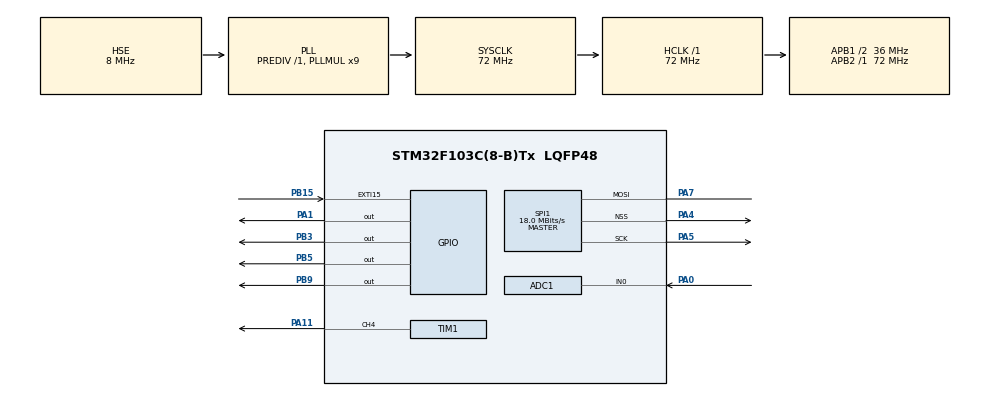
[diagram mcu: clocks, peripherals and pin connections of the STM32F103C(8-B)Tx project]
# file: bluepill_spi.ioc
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ADC1.Channel-5\#ChannelRegularConversion=ADC_CHANNEL_0
ADC1.ContinuousConvMode=ENABLE
ADC1.NbrOfConversionFlag=1
ADC1.Rank-5\#ChannelRegularConversion=1
ADC1.SamplingTime-5\#ChannelRegularConversion=ADC_SAMPLETIME_1CYCLE_5
ADC1.master=1
Mcu.Family=STM32F1
Mcu.Name=STM32F103C(8-B)Tx
Mcu.Package=LQFP48
NVIC.EXTI15_10_IRQn=true\:0\:0\:false\:false\:true\:true\:true\:true
NVIC.PriorityGroup=NVIC_PRIORITYGROUP_4
PA0-WKUP.Signal=ADCx_IN0
PA1.Signal=GPIO_Output
PA11.Signal=S_TIM1_CH4
PA13.Mode=Serial_Wire
PA13.Signal=SYS_JTMS-SWDIO
PA14.Mode=Serial_Wire
PA14.Signal=SYS_JTCK-SWCLK
PA4.Mode=NSS_Signal_Hard_Output
PA4.Signal=SPI1_NSS
PA5.Mode=Simplex_Bidirectional_Master
PA5.Signal=SPI1_SCK
PA7.Mode=Simplex_Bidirectional_Master
PA7.Signal=SPI1_MOSI
PB15.GPIO_ModeDefaultEXTI=GPIO_MODE_IT_FALLING
PB15.GPIO_PuPd=GPIO_NOPULL
PB15.Signal=GPXTI15
PB3.Signal=GPIO_Output
PB5.Signal=GPIO_Output
PB9.GPIO_ModeDefaultOutputPP=GPIO_MODE_OUTPUT_PP
PB9.GPIO_PuPd=GPIO_NOPULL
PB9.GPIO_Speed=GPIO_SPEED_FREQ_LOW
PB9.PinState=GPIO_PIN_RESET
PB9.Signal=GPIO_Output
PC14-OSC32_IN.Mode=LSE-External-Oscillator
PC14-OSC32_IN.Signal=RCC_OSC32_IN
PC15-OSC32_OUT.Mode=LSE-External-Oscillator
PC15-OSC32_OUT.Signal=RCC_OSC32_OUT
PD0-OSC_IN.Mode=HSE-External-Oscillator
PD0-OSC_IN.Signal=RCC_OSC_IN
PD1-OSC_OUT.Mode=HSE-External-Oscillator
PD1-OSC_OUT.Signal=RCC_OSC_OUT
ProjectManager.HeapSize=0x200
ProjectManager.StackSize=0x400
ProjectManager.TargetToolchain=STM32CubeIDE
RCC.ADCPresc=RCC_ADCPCLK2_DIV6
RCC.AHBFreq_Value=72000000
RCC.APB1CLKDivider=RCC_HCLK_DIV2
RCC.APB1Freq_Value=36000000
RCC.APB1TimFreq_Value=72000000
RCC.APB2Freq_Value=72000000
RCC.APB2TimFreq_Value=72000000
RCC.HCLKFreq_Value=72000000
RCC.PLLMUL=RCC_PLL_MUL9
RCC.PLLSourceVirtual=RCC_PLLSOURCE_HSE
RCC.RTCClockSelection=RCC_RTCCLKSOURCE_LSE
RCC.SYSCLKFreq_VALUE=72000000
RCC.SYSCLKSource=RCC_SYSCLKSOURCE_PLLCLK
RCC.USBFreq_Value=48000000
RCC.USBPrescaler=RCC_USBCLKSOURCE_PLL_DIV1_5
SH.ADCx_IN0.0=ADC1_IN0,IN0
SH.S_TIM1_CH4.0=TIM1_CH4,PWM Generation4 CH4
SPI1.BaudRatePrescaler=SPI_BAUDRATEPRESCALER_4
SPI1.CalculateBaudRate=18.0 MBits/s
SPI1.Direction=SPI_DIRECTION_1LINE
SPI1.Mode=SPI_MODE_MASTER
SPI1.VirtualNSS=VM_NSSHARD
SPI1.VirtualType=VM_MASTER
TIM1.Channel-PWM\ Generation4\ CH4=TIM_CHANNEL_4
TIM1.Period=20000 - 1
TIM1.Prescaler=72 - 1
VP_RTC_VS_RTC_Activate.Mode=RTC_Enabled
VP_TIM1_VS_ClockSourceINT.Mode=Internal
board=custom

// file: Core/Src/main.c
/* USER CODE BEGIN Header */
/**
  ******************************************************************************
  * @file           : main.c
  * @brief          : Main program body
  ******************************************************************************
  * @attention
  *
  * Copyright (c) 2024 STMicroelectronics.
  * All rights reserved.
  *
  * This software is licensed under terms that can be found in the LICENSE file
  * in the root directory of this software component.
  * If no LICENSE file comes with this software, it is provided AS-IS.
  *
  ******************************************************************************
  */
/* USER CODE END Header */
#include "main.h"

/* USER CODE BEGIN Includes */
#include "st7735.h"
#include <stdio.h>
/* USER CODE END Includes */

ADC_HandleTypeDef hadc1;

RTC_HandleTypeDef hrtc;

SPI_HandleTypeDef hspi1;

TIM_HandleTypeDef htim1;

void SystemClock_Config(void);
static void MX_GPIO_Init(void);
static void MX_RTC_Init(void);
static void MX_SPI1_Init(void);
static void MX_ADC1_Init(void);
static void MX_TIM1_Init(void);

/* USER CODE BEGIN 0 */
volatile uint8_t buttonPressed = 0;
int count = 0;
int readValue;
uint16_t x, y, h, w, w2, w3;
uint16_t PWM;
/* USER CODE END 0 */

int main(void)
{

  /* MCU Configuration--------------------------------------------------------*/

  /* Reset of all peripherals, Initializes the Flash interface and the Systick. */
  HAL_Init();

  /* Configure the system clock */
  SystemClock_Config();

  /* Initialize all configured peripherals */
  MX_GPIO_Init();
  MX_RTC_Init();
  MX_SPI1_Init();
  MX_ADC1_Init();
  MX_TIM1_Init();
  /* USER CODE BEGIN 2 */
  ST7735_Init();
  ST7735_FillScreenFast(ST7735_BLACK);

  HAL_ADC_Start(&hadc1);
  HAL_TIM_PWM_Start(&htim1, TIM_CHANNEL_4);
  /* USER CODE END 2 */

  /* Infinite loop */
  /* USER CODE BEGIN WHILE */
  while (1)
  {
	  HAL_ADC_PollForConversion(&hadc1,1000);
	  readValue = HAL_ADC_GetValue(&hadc1);

	  // Map ADC value (0-4095) to PWM duty cycle (0-180 degrees)
	  uint32_t pulse_width = (readValue * (2000 - 500) / 4095) + 500;
	  __HAL_TIM_SET_COMPARE(&htim1, TIM_CHANNEL_4, pulse_width);

	  //write value to screen
	  char buffer[10];
	  snprintf(buffer, sizeof(buffer), "%05d", readValue);
	  ST7735_WriteString(32, 32, buffer, Font_7x10, ST7735_CYAN, ST7735_BLACK);

	  //draw bar to screen
	  x = 10;
	  y = 64;
	  h = 10;
	  w = (readValue * 108) / 4095;
	  w2 = 15;
	  w3 = 80;
	  ST7735_DrawRectangle(x - 1, y - 1, 109, h + 2, ST7735_WHITE);
	  ST7735_FillRectangleFast(x, y, w, h, ST7735_CYAN);
	  ST7735_FillRectangleFast(w + w2, y, w3, h, ST7735_BLACK);

	  HAL_Delay(50);
    /* USER CODE END WHILE */

  }
}

void SystemClock_Config(void)
{
  RCC_OscInitTypeDef RCC_OscInitStruct = {0};
  RCC_ClkInitTypeDef RCC_ClkInitStruct = {0};
  RCC_PeriphCLKInitTypeDef PeriphClkInit = {0};

  /** Initializes the RCC Oscillators according to the specified parameters
  * in the RCC_OscInitTypeDef structure.
  */
  RCC_OscInitStruct.OscillatorType = RCC_OSCILLATORTYPE_HSE|RCC_OSCILLATORTYPE_LSE;
  RCC_OscInitStruct.HSEState = RCC_HSE_ON;
  RCC_OscInitStruct.HSEPredivValue = RCC_HSE_PREDIV_DIV1;
  RCC_OscInitStruct.LSEState = RCC_LSE_ON;
  RCC_OscInitStruct.HSIState = RCC_HSI_ON;
  RCC_OscInitStruct.PLL.PLLState = RCC_PLL_ON;
  RCC_OscInitStruct.PLL.PLLSource = RCC_PLLSOURCE_HSE;
  RCC_OscInitStruct.PLL.PLLMUL = RCC_PLL_MUL9;
  if (HAL_RCC_OscConfig(&RCC_OscInitStruct) != HAL_OK)
  {
    Error_Handler();
  }

  /** Initializes the CPU, AHB and APB buses clocks
  */
  RCC_ClkInitStruct.ClockType = RCC_CLOCKTYPE_HCLK|RCC_CLOCKTYPE_SYSCLK
                              |RCC_CLOCKTYPE_PCLK1|RCC_CLOCKTYPE_PCLK2;
  RCC_ClkInitStruct.SYSCLKSource = RCC_SYSCLKSOURCE_PLLCLK;
  RCC_ClkInitStruct.AHBCLKDivider = RCC_SYSCLK_DIV1;
  RCC_ClkInitStruct.APB1CLKDivider = RCC_HCLK_DIV2;
  RCC_ClkInitStruct.APB2CLKDivider = RCC_HCLK_DIV1;

  if (HAL_RCC_ClockConfig(&RCC_ClkInitStruct, FLASH_LATENCY_2) != HAL_OK)
  {
    Error_Handler();
  }
  PeriphClkInit.PeriphClockSelection = RCC_PERIPHCLK_RTC|RCC_PERIPHCLK_ADC;
  PeriphClkInit.RTCClockSelection = RCC_RTCCLKSOURCE_LSE;
  PeriphClkInit.AdcClockSelection = RCC_ADCPCLK2_DIV6;
  if (HAL_RCCEx_PeriphCLKConfig(&PeriphClkInit) != HAL_OK)
  {
    Error_Handler();
  }
}

static void MX_ADC1_Init(void)
{

  ADC_ChannelConfTypeDef sConfig = {0};

  /** Common config
  */
  hadc1.Instance = ADC1;
  hadc1.Init.ScanConvMode = ADC_SCAN_DISABLE;
  hadc1.Init.ContinuousConvMode = ENABLE;
  hadc1.Init.DiscontinuousConvMode = DISABLE;
  hadc1.Init.ExternalTrigConv = ADC_SOFTWARE_START;
  hadc1.Init.DataAlign = ADC_DATAALIGN_RIGHT;
  hadc1.Init.NbrOfConversion = 1;
  if (HAL_ADC_Init(&hadc1) != HAL_OK)
  {
    Error_Handler();
  }

  /** Configure Regular Channel
  */
  sConfig.Channel = ADC_CHANNEL_0;
  sConfig.Rank = ADC_REGULAR_RANK_1;
  sConfig.SamplingTime = ADC_SAMPLETIME_1CYCLE_5;
  if (HAL_ADC_ConfigChannel(&hadc1, &sConfig) != HAL_OK)
  {
    Error_Handler();
  }

}

static void MX_RTC_Init(void)
{

  /** Initialize RTC Only
  */
  hrtc.Instance = RTC;
  hrtc.Init.AsynchPrediv = RTC_AUTO_1_SECOND;
  hrtc.Init.OutPut = RTC_OUTPUTSOURCE_ALARM;
  if (HAL_RTC_Init(&hrtc) != HAL_OK)
  {
    Error_Handler();
  }

}

static void MX_SPI1_Init(void)
{

  /* SPI1 parameter configuration*/
  hspi1.Instance = SPI1;
  hspi1.Init.Mode = SPI_MODE_MASTER;
  hspi1.Init.Direction = SPI_DIRECTION_1LINE;
  hspi1.Init.DataSize = SPI_DATASIZE_8BIT;
  hspi1.Init.CLKPolarity = SPI_POLARITY_LOW;
  hspi1.Init.CLKPhase = SPI_PHASE_1EDGE;
  hspi1.Init.NSS = SPI_NSS_HARD_OUTPUT;
  hspi1.Init.BaudRatePrescaler = SPI_BAUDRATEPRESCALER_4;
  hspi1.Init.FirstBit = SPI_FIRSTBIT_MSB;
  hspi1.Init.TIMode = SPI_TIMODE_DISABLE;
  hspi1.Init.CRCCalculation = SPI_CRCCALCULATION_DISABLE;
  hspi1.Init.CRCPolynomial = 10;
  if (HAL_SPI_Init(&hspi1) != HAL_OK)
  {
    Error_Handler();
  }

}

static void MX_TIM1_Init(void)
{

  TIM_ClockConfigTypeDef sClockSourceConfig = {0};
  TIM_MasterConfigTypeDef sMasterConfig = {0};
  TIM_OC_InitTypeDef sConfigOC = {0};
  TIM_BreakDeadTimeConfigTypeDef sBreakDeadTimeConfig = {0};

  htim1.Instance = TIM1;
  htim1.Init.Prescaler = 72 - 1;
  htim1.Init.CounterMode = TIM_COUNTERMODE_UP;
  htim1.Init.Period = 20000 - 1;
  htim1.Init.ClockDivision = TIM_CLOCKDIVISION_DIV1;
  htim1.Init.RepetitionCounter = 0;
  htim1.Init.AutoReloadPreload = TIM_AUTORELOAD_PRELOAD_DISABLE;
  if (HAL_TIM_Base_Init(&htim1) != HAL_OK)
  {
    Error_Handler();
  }
  sClockSourceConfig.ClockSource = TIM_CLOCKSOURCE_INTERNAL;
  if (HAL_TIM_ConfigClockSource(&htim1, &sClockSourceConfig) != HAL_OK)
  {
    Error_Handler();
  }
  if (HAL_TIM_PWM_Init(&htim1) != HAL_OK)
  {
    Error_Handler();
  }
  sMasterConfig.MasterOutputTrigger = TIM_TRGO_RESET;
  sMasterConfig.MasterSlaveMode = TIM_MASTERSLAVEMODE_DISABLE;
  if (HAL_TIMEx_MasterConfigSynchronization(&htim1, &sMasterConfig) != HAL_OK)
  {
    Error_Handler();
  }
  sConfigOC.OCMode = TIM_OCMODE_PWM1;
  sConfigOC.Pulse = 1500;
  sConfigOC.OCPolarity = TIM_OCPOLARITY_HIGH;
  sConfigOC.OCFastMode = TIM_OCFAST_DISABLE;
  sConfigOC.OCIdleState = TIM_OCIDLESTATE_RESET;
  sConfigOC.OCNIdleState = TIM_OCNIDLESTATE_RESET;
  if (HAL_TIM_PWM_ConfigChannel(&htim1, &sConfigOC, TIM_CHANNEL_4) != HAL_OK)
  {
    Error_Handler();
  }
  sBreakDeadTimeConfig.OffStateRunMode = TIM_OSSR_DISABLE;
  sBreakDeadTimeConfig.OffStateIDLEMode = TIM_OSSI_DISABLE;
  sBreakDeadTimeConfig.LockLevel = TIM_LOCKLEVEL_OFF;
  sBreakDeadTimeConfig.DeadTime = 0;
  sBreakDeadTimeConfig.BreakState = TIM_BREAK_DISABLE;
  sBreakDeadTimeConfig.BreakPolarity = TIM_BREAKPOLARITY_HIGH;
  sBreakDeadTimeConfig.AutomaticOutput = TIM_AUTOMATICOUTPUT_DISABLE;
  if (HAL_TIMEx_ConfigBreakDeadTime(&htim1, &sBreakDeadTimeConfig) != HAL_OK)
  {
    Error_Handler();
  }
  HAL_TIM_MspPostInit(&htim1);

}

static void MX_GPIO_Init(void)
{
  GPIO_InitTypeDef GPIO_InitStruct = {0};

  /* GPIO Ports Clock Enable */
  __HAL_RCC_GPIOC_CLK_ENABLE();
  __HAL_RCC_GPIOD_CLK_ENABLE();
  __HAL_RCC_GPIOA_CLK_ENABLE();
  __HAL_RCC_GPIOB_CLK_ENABLE();

  /*Configure GPIO pin Output Level */
  HAL_GPIO_WritePin(GPIOA, GPIO_PIN_1, GPIO_PIN_RESET);

  /*Configure GPIO pin Output Level */
  HAL_GPIO_WritePin(GPIOB, GPIO_PIN_3|GPIO_PIN_5|GPIO_PIN_9, GPIO_PIN_RESET);

  /*Configure GPIO pin : PA1 */
  GPIO_InitStruct.Pin = GPIO_PIN_1;
  GPIO_InitStruct.Mode = GPIO_MODE_OUTPUT_PP;
  GPIO_InitStruct.Pull = GPIO_NOPULL;
  GPIO_InitStruct.Speed = GPIO_SPEED_FREQ_LOW;
  HAL_GPIO_Init(GPIOA, &GPIO_InitStruct);

  /*Configure GPIO pin : PB15 */
  GPIO_InitStruct.Pin = GPIO_PIN_15;
  GPIO_InitStruct.Mode = GPIO_MODE_IT_FALLING;
  GPIO_InitStruct.Pull = GPIO_NOPULL;
  HAL_GPIO_Init(GPIOB, &GPIO_InitStruct);

  /*Configure GPIO pins : PB3 PB5 PB9 */
  GPIO_InitStruct.Pin = GPIO_PIN_3|GPIO_PIN_5|GPIO_PIN_9;
  GPIO_InitStruct.Mode = GPIO_MODE_OUTPUT_PP;
  GPIO_InitStruct.Pull = GPIO_NOPULL;
  GPIO_InitStruct.Speed = GPIO_SPEED_FREQ_LOW;
  HAL_GPIO_Init(GPIOB, &GPIO_InitStruct);

  /* EXTI interrupt init*/
  HAL_NVIC_SetPriority(EXTI15_10_IRQn, 0, 0);
  HAL_NVIC_EnableIRQ(EXTI15_10_IRQn);

}

/* USER CODE BEGIN 4 */
void HAL_GPIO_EXTI_Callback(uint16_t GPIO_Pin) {
    if (GPIO_Pin == GPIO_PIN_15) {
        count += 1;
        buttonPressed = 1;
    }
}

/* USER CODE END 4 */

void Error_Handler(void)
{
  __disable_irq();
  while (1)
  {
  }
}
